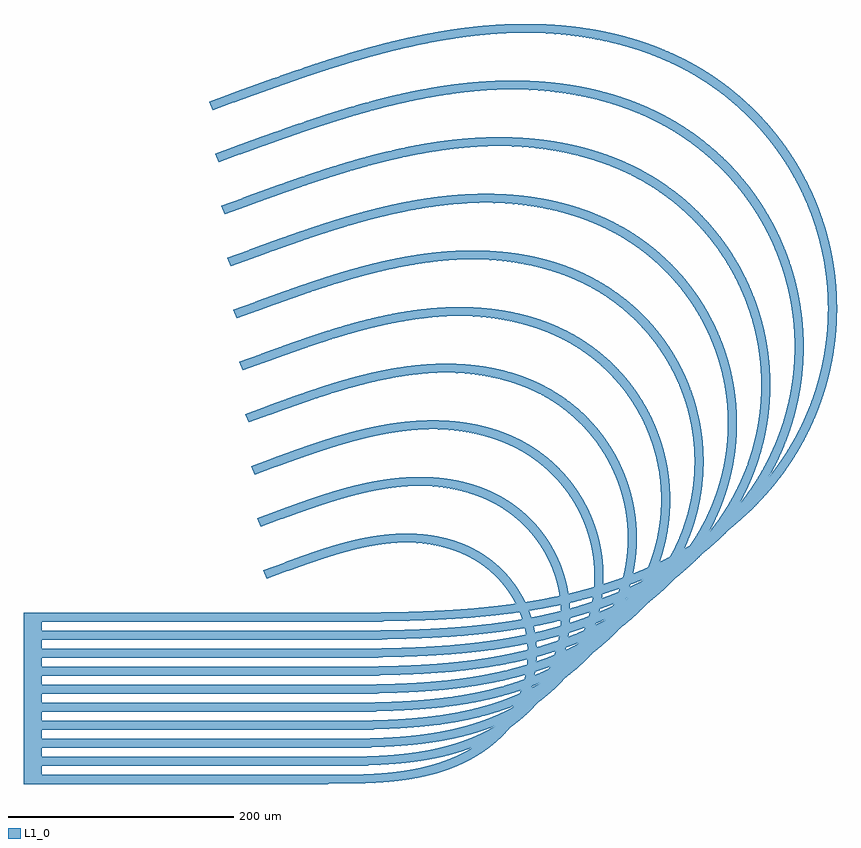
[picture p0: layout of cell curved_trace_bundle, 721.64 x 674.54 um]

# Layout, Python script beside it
import gdsfactory as gf

gf.gpdk.PDK.activate()

LAYER = (1, 0)

@gf.cell
def curved_trace_bundle() -> gf.Component:
    """Parallel curved trace bundle with concentric bends."""
    c = gf.Component()

    num_traces = 10
    trace_width = 8.0
    trace_spacing = 8.0
    pitch = trace_width + trace_spacing
    lead_length = 250.0
    bend_radius_start = 100.0
    bend_angle = 200.0
    tail_length = 20.0

    bundle_height = (num_traces - 1) * pitch + trace_width

    # Left bus bar
    bus = gf.components.rectangle(
        size=(trace_width * 2, bundle_height), layer=LAYER, centered=True,
    )
    c.add_ref(bus)

    for i in range(num_traces):
        y_offset = -bundle_height / 2 + trace_width / 2 + i * pitch
        radius = bend_radius_start + i * pitch

        path = gf.path.Path()
        path.append(gf.path.straight(length=lead_length))
        path.append(gf.path.euler(radius=radius, angle=bend_angle))
        path.append(gf.path.straight(length=tail_length))

        route = gf.path.extrude(path, width=trace_width, layer=LAYER)
        ref = c.add_ref(route)
        ref.dmove((trace_width, y_offset))

    return c

if __name__ == "__main__":
    c = curved_trace_bundle()
    c.write_gds("curved_trace_bundle.gds")
    c.write("curved_trace_bundle.oas")
